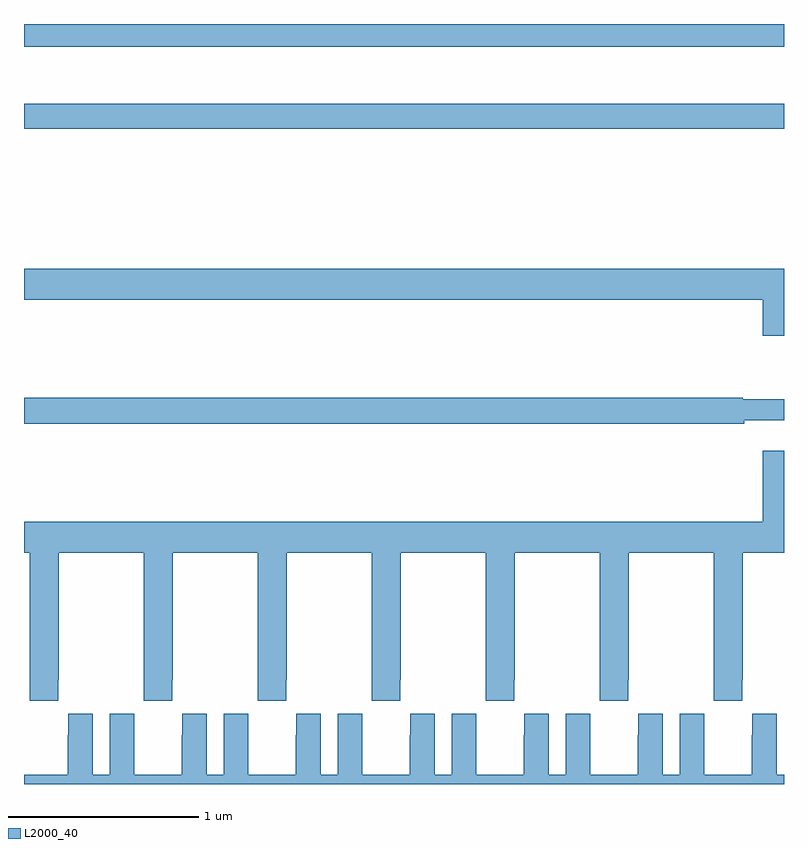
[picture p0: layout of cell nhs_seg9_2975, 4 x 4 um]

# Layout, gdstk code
import gdstk
lib = gdstk.Library(unit=1e-6, precision=1e-09)
def R(c, l, rs):  # rectangles x0, y0, x1, y1
    for r in rs: c.add(gdstk.rectangle(r[:2], r[2:], *l))
def P(c, l, *ps):  # polygons
    for p in ps: c.add(gdstk.Polygon(p, *l))
L2000_40 = (2000, 40)

nhs_seg9_2975 = lib.new_cell('nhs_seg9_2975')
R(nhs_seg9_2975, L2000_40, [(281,1235.95,285,1236.079), (281,1236.38,285,1236.5)])
P(nhs_seg9_2975, L2000_40, [(285,1235.212),(281,1235.212),(281,1235.048),(284.888,1235.048),(284.888,1234.86),(285,1234.86)],
  [(284.792,1234.415),(285,1234.415),(285,1234.525),(284.783,1234.525),(284.783,1234.532),(281,1234.532),(281,1234.396),(284.792,1234.396)],
  [(281,1233.716),(281.029,1233.716),(281.029,1233.049),(281.031,1233.049),(281.031,1232.937),(281.181,1232.937),(281.181,1233.049),(281.184,1233.049),(281.184,1233.716),(281.629,1233.716),(281.629,1233.049),(281.631,1233.049),(281.631,1232.937),(281.781,1232.937),(281.781,1233.049),(281.784,1233.049),(281.784,1233.716),(282.229,1233.716),(282.229,1233.049),(282.231,1233.049),(282.231,1232.937),(282.381,1232.937),(282.381,1233.049),(282.384,1233.049),(282.384,1233.716),(282.829,1233.716),(282.829,1233.049),(282.831,1233.049),(282.831,1232.937),(282.981,1232.937),(282.981,1233.049),(282.984,1233.049),(282.984,1233.716),(283.429,1233.716),(283.429,1233.049),(283.431,1233.049),(283.431,1232.937),(283.581,1232.937),(283.581,1233.049),(283.584,1233.049),(283.584,1233.716),(284.029,1233.716),(284.029,1233.049),(284.031,1233.049),(284.031,1232.937),(284.181,1232.937),(284.181,1233.049),(284.184,1233.049),(284.184,1233.716),(284.629,1233.716),(284.629,1233.049),(284.631,1233.049),(284.631,1232.937),(284.781,1232.937),(284.781,1233.049),(284.784,1233.049),(284.784,1233.716),(285,1233.716),(285,1234.255),(284.888,1234.255),(284.888,1233.88),(281,1233.88)],
  [(283.162,1232.869),(283.032,1232.869),(283.032,1232.756),(283.031,1232.756),(283.031,1232.548),(282.781,1232.548),(282.781,1232.756),(282.78,1232.756),(282.78,1232.869),(282.65,1232.869),(282.65,1232.548),(282.562,1232.548),(282.562,1232.869),(282.432,1232.869),(282.432,1232.756),(282.431,1232.756),(282.431,1232.548),(282.181,1232.548),(282.181,1232.756),(282.18,1232.756),(282.18,1232.869),(282.05,1232.869),(282.05,1232.548),(281.962,1232.548),(281.962,1232.869),(281.832,1232.869),(281.832,1232.756),(281.831,1232.756),(281.831,1232.548),(281.581,1232.548),(281.581,1232.756),(281.58,1232.756),(281.58,1232.869),(281.45,1232.869),(281.45,1232.548),(281.362,1232.548),(281.362,1232.869),(281.232,1232.869),(281.232,1232.756),(281.231,1232.756),(281.231,1232.548),(281,1232.548),(281,1232.5),(285,1232.5),(285,1232.548),(284.962,1232.548),(284.962,1232.869),(284.832,1232.869),(284.832,1232.756),(284.831,1232.756),(284.831,1232.548),(284.581,1232.548),(284.581,1232.756),(284.58,1232.756),(284.58,1232.869),(284.45,1232.869),(284.45,1232.548),(284.362,1232.548),(284.362,1232.869),(284.232,1232.869),(284.232,1232.756),(284.231,1232.756),(284.231,1232.548),(283.981,1232.548),(283.981,1232.756),(283.98,1232.756),(283.98,1232.869),(283.85,1232.869),(283.85,1232.548),(283.762,1232.548),(283.762,1232.869),(283.632,1232.869),(283.632,1232.756),(283.631,1232.756),(283.631,1232.548),(283.381,1232.548),(283.381,1232.756),(283.38,1232.756),(283.38,1232.869),(283.25,1232.869),(283.25,1232.548),(283.162,1232.548)])

lib.write_gds('nhs_seg9_2975.gds')
